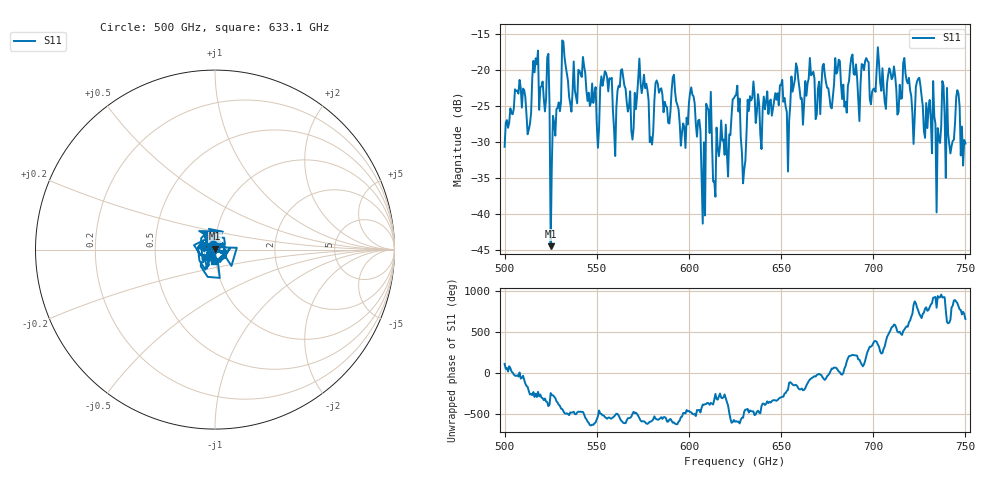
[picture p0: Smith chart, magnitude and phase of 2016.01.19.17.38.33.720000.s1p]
!Created with skrf (http://scikit-rf.org).
# GHz S RI R 50.0
!freq ReS11 ImS11
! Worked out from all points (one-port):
!   401 points, 500 GHz to 750 GHz, reference 50 ohm
!   lowest |S11| = -44.5 dB at 525 GHz (marker M1), VSWR 1.01, Z = 49.8 + j0.541 ohm
!   |S11| at or under -10 dB: start of sweep to end of sweep
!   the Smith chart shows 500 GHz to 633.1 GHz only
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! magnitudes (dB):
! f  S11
! 500 GHz  -30.7
! 506.9 GHz  -22.9
! 513.1 GHz  -28.3
! 516.9 GHz  -18.4
! 523.1 GHz  -18.3
! 525 GHz  -44.5
! 531.2 GHz  -15.9
! 550 GHz  -27.5
! 562.5 GHz  -22.4
! 570 GHz  -28.1
! 576.2 GHz  -22.6
! 579.4 GHz  -29.4
! 583.1 GHz  -21.9
! 593.8 GHz  -24.9
! 601.9 GHz  -23.5
! 607.5 GHz  -41.4
! 610.6 GHz  -25.6
! 614.4 GHz  -37.6
! 625 GHz  -23.6
! 629.4 GHz  -35.8
! 634.4 GHz  -23.9
! 653.8 GHz  -34.1
! 656.2 GHz  -23.0
! 687.5 GHz  -19.5
! 718.8 GHz  -21.9
! 735.6 GHz  -29.7
! 745.6 GHz  -22.8
! 750 GHz  -30.2
